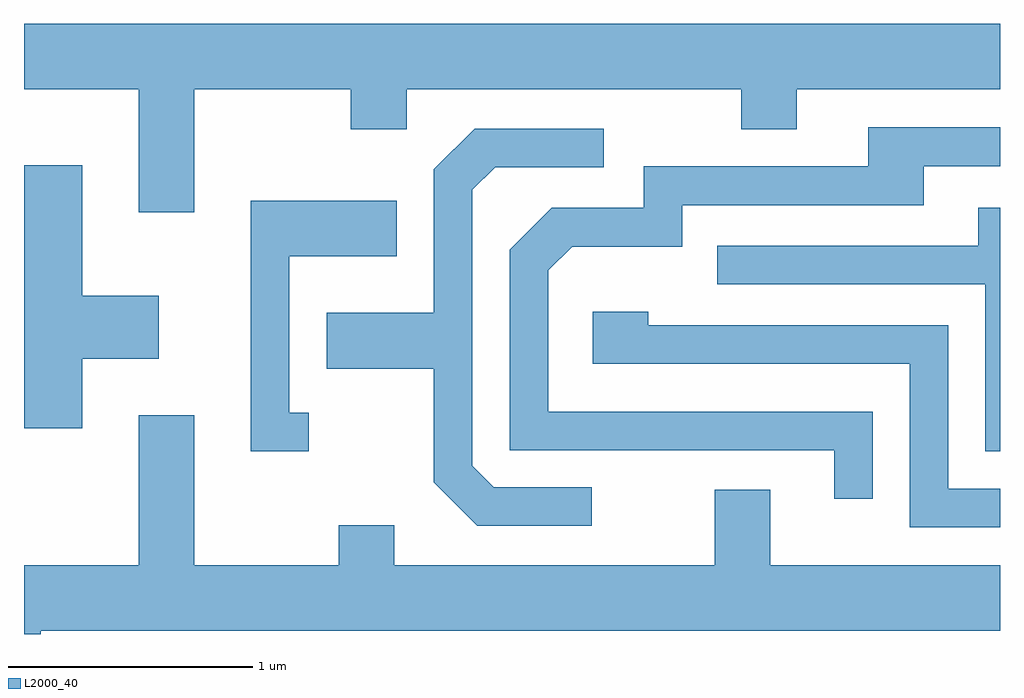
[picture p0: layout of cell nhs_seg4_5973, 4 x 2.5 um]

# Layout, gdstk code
import gdstk
lib = gdstk.Library(unit=1e-6, precision=1e-09)
def P(c, l, *ps):  # polygons
    for p in ps: c.add(gdstk.Polygon(p, *l))
L2000_40 = (2000, 40)

nhs_seg4_5973 = lib.new_cell('nhs_seg4_5973')
P(nhs_seg4_5973, L2000_40, [(360.309,1370.216),(360.951,1370.216),(360.951,1370.051),(361.179,1370.051),(361.179,1370.216),(362.551,1370.216),(362.551,1370.051),(362.779,1370.051),(362.779,1370.216),(363.611,1370.216),(363.611,1370.484),(359.611,1370.484),(359.611,1370.216),(360.081,1370.216),(360.081,1369.711),(360.309,1369.711)],
  [(363.089,1368.894),(361.759,1368.894),(361.759,1369.474),(361.857,1369.571),(362.309,1369.571),(362.309,1369.741),(363.299,1369.741),(363.299,1369.901),(363.611,1369.901),(363.611,1370.059),(363.071,1370.059),(363.071,1369.899),(362.151,1369.899),(362.151,1369.729),(361.774,1369.729),(361.601,1369.557),(361.601,1368.736),(362.931,1368.736),(362.931,1368.538),(363.089,1368.538)],
  [(361.938,1368.584),(361.537,1368.584),(361.449,1368.672),(361.449,1369.804),(361.542,1369.896),(361.988,1369.896),(361.988,1370.054),(361.459,1370.054),(361.291,1369.887),(361.291,1369.299),(360.851,1369.299),(360.851,1369.071),(361.291,1369.071),(361.291,1368.604),(361.469,1368.426),(361.938,1368.426)],
  [(359.849,1369.111),(360.164,1369.111),(360.164,1369.369),(359.849,1369.369),(359.849,1369.904),(359.611,1369.904),(359.611,1368.826),(359.849,1368.826)],
  [(360.778,1368.889),(360.699,1368.889),(360.699,1369.531),(361.139,1369.531),(361.139,1369.759),(360.541,1369.759),(360.541,1368.731),(360.778,1368.731)],
  [(363.611,1369.729),(363.521,1369.729),(363.521,1369.574),(362.453,1369.574),(362.453,1369.416),(363.551,1369.416),(363.551,1368.731),(363.611,1368.731)],
  [(363.611,1368.579),(363.399,1368.579),(363.399,1369.249),(362.169,1369.249),(362.169,1369.304),(361.941,1369.304),(361.941,1369.091),(363.241,1369.091),(363.241,1368.421),(363.611,1368.421)],
  [(359.679,1367.996),(363.611,1367.996),(363.611,1368.264),(362.669,1368.264),(362.669,1368.574),(362.441,1368.574),(362.441,1368.264),(361.129,1368.264),(361.129,1368.429),(360.901,1368.429),(360.901,1368.264),(360.309,1368.264),(360.309,1368.879),(360.081,1368.879),(360.081,1368.264),(359.611,1368.264),(359.611,1367.982),(359.679,1367.982)])

lib.write_gds('nhs_seg4_5973.gds')
